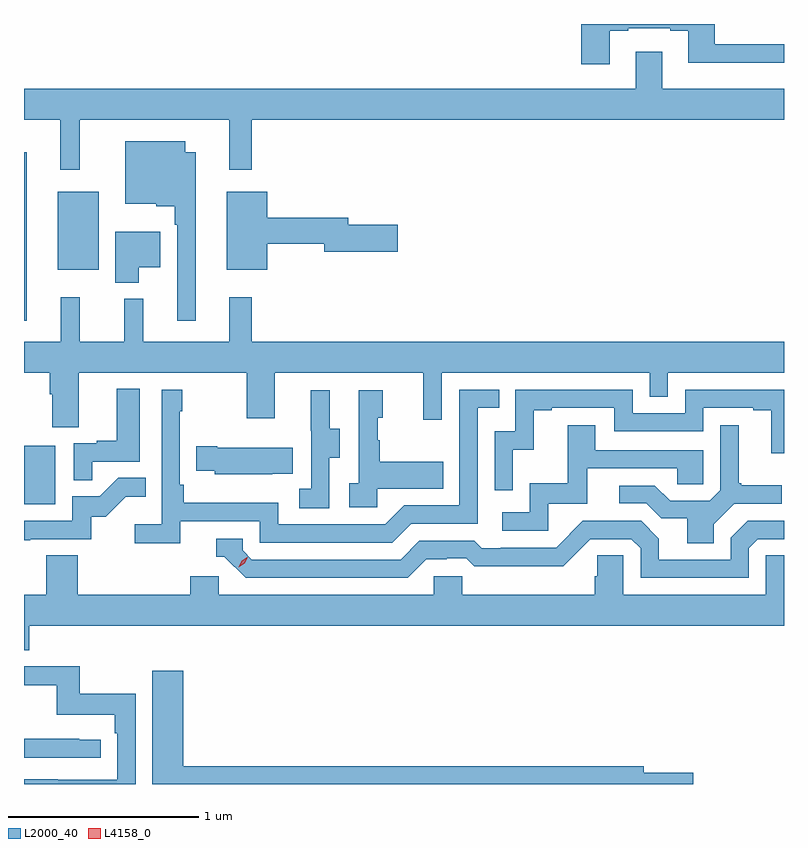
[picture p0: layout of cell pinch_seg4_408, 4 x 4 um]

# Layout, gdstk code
import gdstk
lib = gdstk.Library(unit=1e-6, precision=1e-09)
def R(c, l, rs):  # rectangles x0, y0, x1, y1
    for r in rs: c.add(gdstk.rectangle(r[:2], r[2:], *l))
def P(c, l, *ps):  # polygons
    for p in ps: c.add(gdstk.Polygon(p, *l))
L2000_40 = (2000, 40)
L4158_0 = (4158, 0)

pinch_seg4_408 = lib.new_cell('pinch_seg4_408')
R(pinch_seg4_408, L2000_40, [(974.288,770.82,974.452,771.127), (974.287,771.786,974.302,772.672), (974.465,772.055,974.68,772.465)])
P(pinch_seg4_408, L2000_40, [(977.371,773.313),(977.467,773.313),(977.467,773.325),(977.687,773.325),(977.687,773.313),(977.783,773.313),(977.783,773.144),(978.287,773.144),(978.287,773.241),(977.923,773.241),(977.923,773.348),(977.219,773.348),(977.219,773.136),(977.371,773.136)],
  [(974.58,772.844),(975.367,772.844),(975.367,772.581),(975.485,772.581),(975.485,772.844),(978.287,772.844),(978.287,773.008),(977.647,773.008),(977.647,773.203),(977.507,773.203),(977.507,773.008),(974.287,773.008),(974.287,772.844),(974.479,772.844),(974.479,772.581),(974.58,772.581)],
  [(975.19,772.672),(975.136,772.672),(975.136,772.732),(974.819,772.732),(974.819,772.403),(974.982,772.403),(974.982,772.388),(975.081,772.388),(975.081,772.292),(975.093,772.292),(975.093,771.786),(975.19,771.786)],
  [(975.568,772.192),(975.866,772.192),(975.866,772.15),(976.255,772.15),(976.255,772.292),(975.994,772.292),(975.994,772.328),(975.568,772.328),(975.568,772.465),(975.353,772.465),(975.353,772.055),(975.568,772.055)],
  [(974.89,772.067),(975.004,772.067),(975.004,772.255),(974.768,772.255),(974.768,771.986),(974.89,771.986)],
  [(975.46,771.273),(975.607,771.273),(975.607,771.512),(976.388,771.512),(976.388,771.264),(976.485,771.264),(976.485,771.512),(977.58,771.512),(977.58,771.385),(977.676,771.385),(977.676,771.512),(978.287,771.512),(978.287,771.676),(975.485,771.676),(975.485,771.91),(975.368,771.91),(975.368,771.676),(974.915,771.676),(974.915,771.901),(974.815,771.901),(974.815,771.676),(974.58,771.676),(974.58,771.91),(974.48,771.91),(974.48,771.676),(974.287,771.676),(974.287,771.512),(974.423,771.512),(974.423,771.4),(974.435,771.4),(974.435,771.226),(974.575,771.226),(974.575,771.512),(975.46,771.512)],
  [(974.645,771.045),(974.896,771.045),(974.896,771.427),(974.774,771.427),(974.774,771.154),(974.671,771.154),(974.671,771.141),(974.55,771.141),(974.55,770.947),(974.645,770.947)],
  [(975.11,770.73),(975.528,770.73),(975.528,770.619),(976.225,770.619),(976.324,770.718),(976.674,770.718),(976.674,771.327),(976.787,771.327),(976.787,771.423),(976.578,771.423),(976.578,770.814),(976.287,770.814),(976.188,770.715),(975.624,770.715),(975.624,770.827),(975.128,770.827),(975.128,770.923),(975.108,770.923),(975.108,771.311),(975.121,771.311),(975.121,771.424),(975.012,771.424),(975.012,770.716),(974.871,770.716),(974.871,770.614),(975.11,770.614)],
  [(976.86,771.107),(976.97,771.107),(976.97,771.315),(977.065,771.315),(977.065,771.327),(977.394,771.327),(977.394,771.204),(977.862,771.204),(977.862,771.327),(978.125,771.327),(978.125,771.315),(978.221,771.315),(978.221,771.089),(978.287,771.089),(978.287,771.423),(977.766,771.423),(977.766,771.3),(977.49,771.3),(977.49,771.423),(976.872,771.423),(976.872,771.204),(976.764,771.204),(976.764,770.895),(976.86,770.895)],
  [(976.146,770.903),(976.493,770.903),(976.493,771.043),(976.159,771.043),(976.159,771.158),(976.149,771.158),(976.149,771.276),(976.174,771.276),(976.174,771.421),(976.05,771.421),(976.05,770.93),(975.999,770.93),(975.999,770.805),(976.146,770.805)],
  [(975.894,771.064),(975.949,771.064),(975.949,771.219),(975.895,771.219),(975.895,771.421),(975.797,771.421),(975.797,771.207),(975.798,771.207),(975.798,770.903),(975.735,770.903),(975.735,770.8),(975.894,770.8)],
  [(977.046,770.823),(977.251,770.823),(977.251,771.009),(977.725,771.009),(977.725,770.925),(977.862,770.925),(977.862,771.105),(977.293,771.105),(977.293,771.235),(977.149,771.235),(977.149,770.932),(976.95,770.932),(976.95,770.778),(976.803,770.778),(976.803,770.682),(977.046,770.682)],
  [(977.917,770.716),(978.024,770.823),(978.274,770.823),(978.274,770.92),(978.061,770.92),(978.061,770.932),(978.049,770.932),(978.049,771.235),(977.952,771.235),(977.952,770.895),(977.895,770.838),(977.689,770.838),(977.608,770.919),(977.421,770.919),(977.421,770.826),(977.562,770.826),(977.642,770.746),(977.777,770.746),(977.777,770.614),(977.917,770.614)],
  [(975.593,770.981),(975.701,770.981),(975.701,771.118),(975.304,771.118),(975.304,771.126),(975.193,771.126),(975.193,770.996),(975.291,770.996),(975.291,770.978),(975.593,770.978)],
  [(974.321,770.637),(974.64,770.637),(974.64,770.754),(974.716,770.754),(974.823,770.861),(974.927,770.861),(974.927,770.96),(974.784,770.96),(974.686,770.862),(974.541,770.862),(974.541,770.733),(974.287,770.733),(974.287,770.632),(974.321,770.632)],
  [(976.405,770.532),(976.512,770.532),(976.512,770.535),(976.615,770.535),(976.657,770.493),(976.89,770.493),(976.89,770.495),(977.126,770.495),(977.268,770.637),(977.484,770.637),(977.532,770.589),(977.532,770.433),(978.102,770.433),(978.102,770.589),(978.15,770.637),(978.287,770.637),(978.287,770.733),(978.096,770.733),(978.006,770.643),(978.006,770.529),(977.629,770.529),(977.629,770.639),(977.535,770.733),(977.229,770.733),(977.088,770.592),(976.795,770.592),(976.795,770.589),(976.696,770.589),(976.657,770.628),(976.368,770.628),(976.269,770.529),(975.486,770.529),(975.438,770.577),(975.438,770.64),(975.299,770.64),(975.299,770.544),(975.342,770.544),(975.453,770.433),(976.306,770.433)],
  [(974.315,770.18),(978.287,770.18),(978.287,770.552),(978.192,770.552),(978.192,770.344),(977.442,770.344),(977.442,770.552),(977.305,770.552),(977.305,770.442),(977.291,770.442),(977.291,770.344),(976.593,770.344),(976.593,770.442),(976.443,770.442),(976.443,770.344),(975.312,770.344),(975.312,770.442),(975.161,770.442),(975.161,770.344),(974.57,770.344),(974.57,770.552),(974.405,770.552),(974.405,770.344),(974.287,770.344),(974.287,770.053),(974.315,770.053)],
  [(974.874,769.822),(974.581,769.822),(974.581,769.968),(974.287,769.968),(974.287,769.867),(974.46,769.867),(974.46,769.712),(974.765,769.712),(974.765,769.616),(974.778,769.616),(974.778,769.371),(974.465,769.371),(974.465,769.372),(974.287,769.372),(974.287,769.348),(974.874,769.348)],
  [(977.809,769.406),(977.548,769.406),(977.548,769.442),(975.124,769.442),(975.124,769.945),(974.963,769.945),(974.963,769.348),(977.809,769.348)],
  [(974.692,769.581),(974.579,769.581),(974.579,769.586),(974.287,769.586),(974.287,769.485),(974.692,769.485)])
P(pinch_seg4_408, L4158_0, [(975.417,770.489),(975.417,770.489),(975.433,770.522),(975.463,770.542),(975.464,770.542),(975.464,770.542),(975.448,770.509),(975.417,770.489)])

lib.write_gds('pinch_seg4_408.gds')
